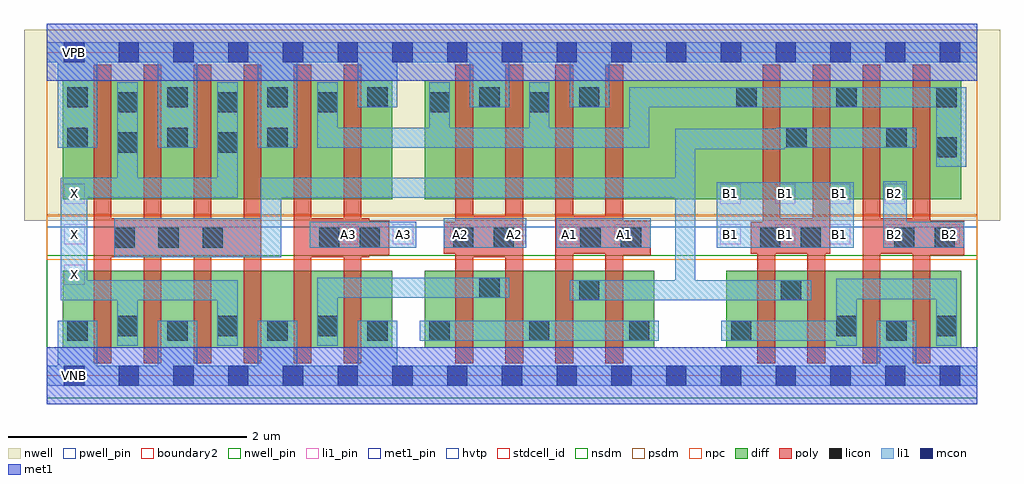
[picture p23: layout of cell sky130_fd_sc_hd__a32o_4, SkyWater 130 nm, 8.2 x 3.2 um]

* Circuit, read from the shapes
.subckt sky130_fd_sc_hd__a32o_4 A1 A2 A3 B1 B2 VGND VNB VPB VPWR X
XM1 X n1 VGND VNB sky130_fd_pr__nfet_01v8 w=0.65 l=0.15 m=4
XM2 n2 A3 VGND VNB sky130_fd_pr__nfet_01v8 w=0.65 l=0.15 m=2
XM3 n2 A2 n3 VNB sky130_fd_pr__nfet_01v8 w=0.65 l=0.15 m=2
XM4 n1 A1 n3 VNB sky130_fd_pr__nfet_01v8 w=0.65 l=0.15 m=2
XM5 n1 B1 n4 VNB sky130_fd_pr__nfet_01v8 w=0.65 l=0.15 m=2
XM6 VGND B2 n4 VNB sky130_fd_pr__nfet_01v8 w=0.65 l=0.15 m=2
XM7 X n1 VPWR VPB sky130_fd_pr__pfet_01v8_hvt w=1 l=0.15 m=4
XM8 n5 A3 VPWR VPB sky130_fd_pr__pfet_01v8_hvt w=1 l=0.15 m=2
XM9 VPWR A2 n5 VPB sky130_fd_pr__pfet_01v8_hvt w=1 l=0.15 m=2
XM10 VPWR A1 n5 VPB sky130_fd_pr__pfet_01v8_hvt w=1 l=0.15 m=2
XM11 n1 B1 n5 VPB sky130_fd_pr__pfet_01v8_hvt w=1 l=0.15 m=2
XM12 n1 B2 n5 VPB sky130_fd_pr__pfet_01v8_hvt w=1 l=0.15 m=2
.ends

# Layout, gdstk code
import gdstk
lib = gdstk.Library(unit=1e-6, precision=1e-09)
def R(c, l, rs):  # rectangles x0, y0, x1, y1
    for r in rs: c.add(gdstk.rectangle(r[:2], r[2:], *l))
def A(c, l, x, y, w, h, nx, ny, dx, dy):  # array of equal rectangles
    R(c, l, [(x+i*dx, y+j*dy, x+i*dx+w, y+j*dy+h) for i in range(nx) for j in range(ny)])
def P(c, l, *ps):  # polygons
    for p in ps: c.add(gdstk.Polygon(p, *l))
nwell_pin = (64, 16)
nwell = (64, 20)
diff = (65, 20)
poly = (66, 20)
licon = (66, 44)
li1_pin = (67, 16)
li1 = (67, 20)
mcon = (67, 44)
met1_pin = (68, 16)
met1 = (68, 20)
hvtp = (78, 44)
stdcell_id = (81, 4)
nsdm = (93, 44)
psdm = (94, 20)
npc = (95, 20)
pwell_pin = (122, 16)
boundary2 = (236, 0)

sky130_fd_sc_hd__a32o_4 = lib.new_cell('sky130_fd_sc_hd__a32o_4')
R(sky130_fd_sc_hd__a32o_4, nwell_pin, [(0.15,2.635,0.32,2.805)])
R(sky130_fd_sc_hd__a32o_4, nwell, [(-0.19,1.305,8.01,2.91)])
R(sky130_fd_sc_hd__a32o_4, diff, [(0.135,0.235,2.905,0.885), (3.175,0.235,5.105,0.885), (5.71,0.235,7.685,0.885), (0.135,1.485,2.905,2.485), (3.175,1.485,7.685,2.485)])
R(sky130_fd_sc_hd__a32o_4, poly, [(7.425,1.015,7.71,1.025), (7.425,1.295,7.71,1.305)])
P(sky130_fd_sc_hd__a32o_4, poly, [(1.805,2.615),(1.655,2.615),(1.655,1.325),(1.385,1.325),(1.385,2.615),(1.235,2.615),(1.235,1.325),(0.965,1.325),(0.965,2.615),(0.815,2.615),(0.815,1.325),(0.545,1.325),(0.545,2.615),(0.395,2.615),(0.395,0.105),(0.545,0.105),(0.545,0.995),(0.815,0.995),(0.815,0.105),(0.965,0.105),(0.965,0.995),(1.235,0.995),(1.235,0.105),(1.385,0.105),(1.385,0.995),(1.655,0.995),(1.655,0.105),(1.805,0.105)],
  [(2.88,1.305),(2.71,1.305),(2.71,1.325),(2.645,1.325),(2.645,2.615),(2.495,2.615),(2.495,1.325),(2.225,1.325),(2.225,2.615),(2.075,2.615),(2.075,0.105),(2.225,0.105),(2.225,0.995),(2.495,0.995),(2.495,0.105),(2.645,0.105),(2.645,0.995),(2.71,0.995),(2.71,1.015),(2.88,1.015)],
  [(4.005,2.615),(3.855,2.615),(3.855,1.345),(3.585,1.345),(3.585,2.615),(3.435,2.615),(3.435,1.295),(3.335,1.295),(3.335,1.025),(3.435,1.025),(3.435,0.105),(3.585,0.105),(3.585,0.995),(3.855,0.995),(3.855,0.105),(4.005,0.105)],
  [(5.075,1.305),(4.845,1.305),(4.845,2.615),(4.695,2.615),(4.695,1.345),(4.425,1.345),(4.425,2.615),(4.275,2.615),(4.275,0.105),(4.425,0.105),(4.425,1.025),(4.695,1.025),(4.695,0.105),(4.845,0.105),(4.845,1.015),(5.075,1.015)],
  [(6.585,2.615),(6.435,2.615),(6.435,1.325),(6.165,1.325),(6.165,2.615),(6.015,2.615),(6.015,1.295),(5.915,1.295),(5.915,1.025),(5.97,1.025),(5.97,0.105),(6.12,0.105),(6.12,1.025),(6.39,1.025),(6.39,0.105),(6.54,0.105),(6.54,1.025),(6.585,1.025)],
  [(7.71,1.295),(7.425,1.295),(7.425,2.615),(7.275,2.615),(7.275,1.325),(7.005,1.325),(7.005,2.615),(6.855,2.615),(6.855,0.105),(7.005,0.105),(7.005,1.025),(7.275,1.025),(7.275,0.105),(7.425,0.105),(7.425,1.025),(7.71,1.025)])
A(sky130_fd_sc_hd__a32o_4, licon, 0.175, 0.295, 0.17, 0.17, 4, 2, 0.84, 1.96)
A(sky130_fd_sc_hd__a32o_4, licon, 3.215, 0.295, 0.17, 0.17, 3, 1, 0.84, 0)
A(sky130_fd_sc_hd__a32o_4, licon, 0.595, 0.335, 0.17, 0.17, 3, 2, 0.84, 1.88)
A(sky130_fd_sc_hd__a32o_4, licon, 0.57, 1.075, 0.17, 0.17, 3, 1, 0.37, 0)
A(sky130_fd_sc_hd__a32o_4, licon, 0.175, 1.915, 0.17, 0.17, 3, 1, 0.84, 0)
A(sky130_fd_sc_hd__a32o_4, licon, 5.795, 2.255, 0.17, 0.17, 3, 1, 0.84, 0)
R(sky130_fd_sc_hd__a32o_4, licon, [(5.75,0.295,5.92,0.465), (7.055,0.295,7.225,0.465), (6.635,0.335,6.805,0.505), (7.475,0.335,7.645,0.505), (4.475,0.635,4.645,0.805), (6.17,0.635,6.34,0.805), (3.635,0.655,3.805,0.825), (2.29,1.075,2.46,1.245), (2.63,1.075,2.8,1.245), (3.415,1.075,3.585,1.245), (3.755,1.075,3.925,1.245), (4.485,1.075,4.655,1.245), (4.825,1.075,4.995,1.245), (5.995,1.075,6.165,1.245), (6.335,1.075,6.505,1.245), (7.12,1.075,7.29,1.245), (7.46,1.075,7.63,1.245), (7.475,1.835,7.645,2.005), (0.595,1.875,0.765,2.045), (1.435,1.875,1.605,2.045), (6.215,1.915,6.385,2.085), (7.055,1.915,7.225,2.085), (3.215,2.215,3.385,2.385), (4.055,2.215,4.225,2.385), (3.635,2.255,3.805,2.425), (4.475,2.255,4.645,2.425)])
A(sky130_fd_sc_hd__a32o_4, li1_pin, 0.15, 0.765, 0.17, 0.17, 1, 3, 0, 0.34)
A(sky130_fd_sc_hd__a32o_4, li1_pin, 3.39, 1.105, 0.17, 0.17, 4, 1, 0.46, 0)
A(sky130_fd_sc_hd__a32o_4, li1_pin, 5.66, 1.105, 0.17, 0.17, 5, 1, 0.46, 0)
A(sky130_fd_sc_hd__a32o_4, li1_pin, 5.66, 1.445, 0.17, 0.17, 4, 1, 0.46, 0)
R(sky130_fd_sc_hd__a32o_4, li1_pin, [(2.45,1.105,2.62,1.275), (2.91,1.105,3.08,1.275)])
R(sky130_fd_sc_hd__a32o_4, li1, [(3.135,0.295,5.145,0.465), (2.21,1.075,3.105,1.295), (3.335,1.075,4.03,1.325), (4.28,1.075,5.075,1.325), (5.63,1.075,6.78,1.625)])
P(sky130_fd_sc_hd__a32o_4, li1, [(7.82,0.085),(7.305,0.085),(7.305,0.465),(6.975,0.465),(6.975,0.085),(2.945,0.085),(2.945,0.465),(2.615,0.465),(2.615,0.085),(2.105,0.085),(2.105,0.465),(1.775,0.465),(1.775,0.085),(1.265,0.085),(1.265,0.465),(0.935,0.465),(0.935,0.085),(0.425,0.085),(0.425,0.465),(0.095,0.465),(0.095,0.085),(0,0.085),(0,-0.085),(7.82,-0.085)],
  [(7.82,2.805),(0,2.805),(0,2.635),(0.095,2.635),(0.095,1.915),(0.425,1.915),(0.425,2.635),(0.935,2.635),(0.935,1.915),(1.265,1.915),(1.265,2.635),(1.775,2.635),(1.775,1.915),(2.105,1.915),(2.105,2.635),(2.615,2.635),(2.615,2.255),(2.945,2.255),(2.945,2.635),(3.555,2.635),(3.555,2.255),(3.885,2.255),(3.885,2.635),(4.395,2.635),(4.395,2.255),(4.725,2.255),(4.725,2.635),(7.82,2.635)],
  [(1.605,0.805),(0.34,0.805),(0.34,1.495),(1.605,1.495),(1.605,2.465),(1.435,2.465),(1.435,1.665),(0.765,1.665),(0.765,2.465),(0.595,2.465),(0.595,1.665),(0.12,1.665),(0.12,0.635),(0.595,0.635),(0.595,0.255),(0.765,0.255),(0.765,0.635),(1.435,0.635),(1.435,0.255),(1.605,0.255)],
  [(3.885,0.825),(2.275,0.825),(2.275,0.255),(2.445,0.255),(2.445,0.655),(3.885,0.655)],
  [(7.305,2.085),(6.135,2.085),(6.135,2.075),(5.28,2.075),(5.28,1.665),(1.8,1.665),(1.8,1.325),(0.57,1.325),(0.57,0.995),(1.97,0.995),(1.97,1.495),(5.28,1.495),(5.28,0.805),(4.395,0.805),(4.395,0.635),(6.425,0.635),(6.425,0.805),(5.45,0.805),(5.45,1.905),(6.2,1.905),(6.2,1.915),(7.305,1.915)],
  [(7.645,0.815),(6.635,0.815),(6.635,0.465),(5.67,0.465),(5.67,0.295),(6.635,0.295),(6.635,0.255),(6.805,0.255),(6.805,0.645),(7.475,0.645),(7.475,0.255),(7.645,0.255)],
  [(7.71,1.295),(7.225,1.295),(7.225,1.635),(7.03,1.635),(7.03,1.075),(7.71,1.075)],
  [(7.725,2.425),(4.895,2.425),(4.895,2.085),(4.225,2.085),(4.225,2.465),(4.055,2.465),(4.055,2.085),(3.385,2.085),(3.385,2.465),(3.215,2.465),(3.215,2.085),(2.445,2.085),(2.445,2.465),(2.275,2.465),(2.275,1.915),(5.065,1.915),(5.065,2.255),(7.475,2.255),(7.475,1.755),(7.725,1.755)])
A(sky130_fd_sc_hd__a32o_4, mcon, 0.145, -0.085, 0.17, 0.17, 17, 2, 0.46, 2.72)
R(sky130_fd_sc_hd__a32o_4, met1_pin, [(0.15,-0.085,0.32,0.085), (0.15,2.635,0.32,2.805)])
R(sky130_fd_sc_hd__a32o_4, hvtp, [(0,1.25,7.82,2.72)])
R(sky130_fd_sc_hd__a32o_4, stdcell_id, [(0,0,7.82,2.72)])
R(sky130_fd_sc_hd__a32o_4, nsdm, [(0,-0.19,7.82,1.015)])
R(sky130_fd_sc_hd__a32o_4, psdm, [(0,1.355,7.82,2.91)])
R(sky130_fd_sc_hd__a32o_4, npc, [(0,0.975,7.82,1.345)])
R(sky130_fd_sc_hd__a32o_4, pwell_pin, [(0.15,-0.085,0.32,0.085)])
R(sky130_fd_sc_hd__a32o_4, boundary2, [(0,0,7.82,2.72)])
sky130_fd_sc_hd__a32o_4.add(gdstk.FlexPath([(0,2.72),(7.82,2.72)], 0.48, ends="flush", simple_path=True, layer=68, datatype=20))  # met1
sky130_fd_sc_hd__a32o_4.add(gdstk.FlexPath([(0,0),(7.82,0)], 0.48, ends="flush", simple_path=True, layer=68, datatype=20))  # met1
sky130_fd_sc_hd__a32o_4.add(gdstk.Label('A3', (2.535,1.19), layer=67, texttype=5))
sky130_fd_sc_hd__a32o_4.add(gdstk.Label('X', (0.235,1.19), layer=67, texttype=5))
sky130_fd_sc_hd__a32o_4.add(gdstk.Label('X', (0.235,1.53), layer=67, texttype=5))
sky130_fd_sc_hd__a32o_4.add(gdstk.Label('A2', (3.475,1.19), layer=67, texttype=5))
sky130_fd_sc_hd__a32o_4.add(gdstk.Label('X', (0.235,0.85), layer=67, texttype=5))
sky130_fd_sc_hd__a32o_4.add(gdstk.Label('B1', (6.205,1.53), layer=67, texttype=5))
sky130_fd_sc_hd__a32o_4.add(gdstk.Label('B1', (5.745,1.53), layer=67, texttype=5))
sky130_fd_sc_hd__a32o_4.add(gdstk.Label('B1', (5.745,1.19), layer=67, texttype=5))
sky130_fd_sc_hd__a32o_4.add(gdstk.Label('B2', (7.585,1.19), layer=67, texttype=5))
sky130_fd_sc_hd__a32o_4.add(gdstk.Label('B1', (6.665,1.53), layer=67, texttype=5))
sky130_fd_sc_hd__a32o_4.add(gdstk.Label('A1', (4.395,1.19), layer=67, texttype=5))
sky130_fd_sc_hd__a32o_4.add(gdstk.Label('B1', (6.665,1.19), layer=67, texttype=5))
sky130_fd_sc_hd__a32o_4.add(gdstk.Label('B1', (6.205,1.19), layer=67, texttype=5))
sky130_fd_sc_hd__a32o_4.add(gdstk.Label('B2', (7.125,1.53), layer=67, texttype=5))
sky130_fd_sc_hd__a32o_4.add(gdstk.Label('B2', (7.125,1.19), layer=67, texttype=5))
sky130_fd_sc_hd__a32o_4.add(gdstk.Label('A2', (3.935,1.19), layer=67, texttype=5))
sky130_fd_sc_hd__a32o_4.add(gdstk.Label('A3', (2.995,1.19), layer=67, texttype=5))
sky130_fd_sc_hd__a32o_4.add(gdstk.Label('A1', (4.855,1.19), layer=67, texttype=5))
sky130_fd_sc_hd__a32o_4.add(gdstk.Label('VNB', (0.235,0), layer=64, texttype=59))
sky130_fd_sc_hd__a32o_4.add(gdstk.Label('VPB', (0.235,2.72), layer=64, texttype=5))
sky130_fd_sc_hd__a32o_4.add(gdstk.Label('VGND', (0.235,0), layer=68, texttype=5))
sky130_fd_sc_hd__a32o_4.add(gdstk.Label('VPWR', (0.235,2.72), layer=68, texttype=5))
sky130_fd_sc_hd__a32o_4.add(gdstk.Label('a32o_4', (0,0), layer=83, texttype=44))

lib.write_gds('sky130_fd_sc_hd__a32o_4.gds')
